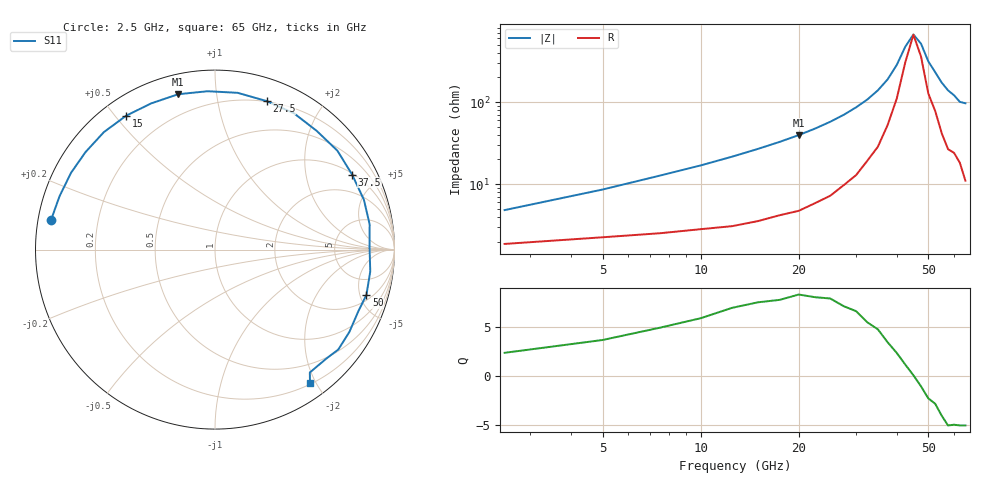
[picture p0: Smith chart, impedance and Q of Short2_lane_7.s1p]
! File created by SignalIntegrity v1.5.1: Signal and Power Integrity Tools
! https://github.com/Nubis-Communications/SignalIntegrity
# MHz S MA R 50.0
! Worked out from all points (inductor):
!   26 points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, 2.5 GHz to 65 GHz, reference 50 ohm
!   read as one part to ground: L = 258 pH near 5 GHz
!   highest Q = 8.03 at 20 GHz (marker M1), where L = 313 pH
!   self-resonance near 45.39 GHz
!   S11 on the Smith chart (normalised r, x): 2.5 GHz: 0.04, +0.09; 15 GHz: 0.07, +0.53; 27.5 GHz: 0.19, +1.39; 37.5 GHz: 1.05, +3.63; 50 GHz: 2.55, -5.73; 65 GHz: 0.22, -1.92
2500  0.9283 169.8
5000  0.9158 161.1
7500  0.9091 151.9
10000  0.903 143.0
12500  0.901 133.4
15000  0.8953 123.6
17500  0.8889 113.6
20000  0.8896 103.3
22500  0.8833 92.7
25000  0.8825 81.8
27500  0.876 70.9
30000  0.8777 59.9
32500  0.871 49.4
35000  0.8768 38.9
37500  0.8709 28.7
40000  0.8749 18.5
42500  0.873 9.3
45000  0.8611 0.9
47500  0.8735 -8.0
50000  0.8806 -16.6
52500  0.8694 -23.1
55000  0.8781 -31.6
57500  0.8842 -39.0
60000  0.8682 -44.3
62500  0.8648 -52.3
65000  0.9108 -54.5
